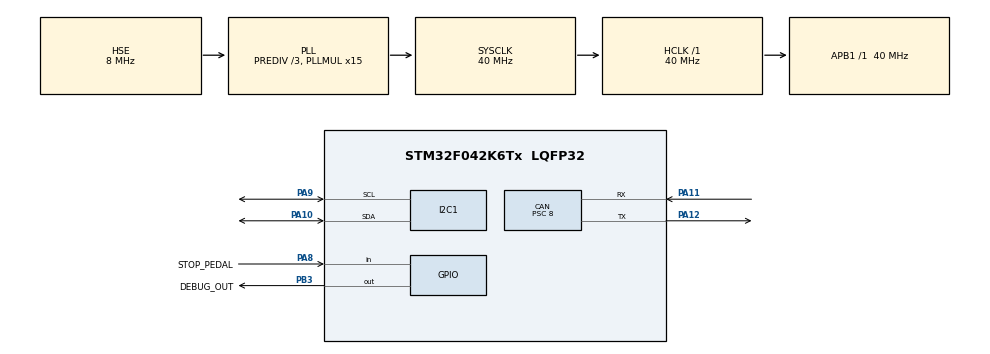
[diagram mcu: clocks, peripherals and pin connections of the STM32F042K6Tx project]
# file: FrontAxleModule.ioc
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CAN.BS1=CAN_BS1_14TQ
CAN.BS2=CAN_BS2_5TQ
CAN.CalculateTimeBit=4000
CAN.CalculateTimeQuantum=200.0
CAN.Prescaler=8
CAN.SJW=CAN_SJW_3TQ
I2C1.Timing=0x00909BEB
Mcu.Family=STM32F0
Mcu.Name=STM32F042K6Tx
Mcu.Package=LQFP32
NVIC.CEC_CAN_IRQn=true\:0\:0\:false\:false\:true
NVIC.TIM17_IRQn=true\:0\:0\:false\:false\:true
PA10.Mode=I2C
PA10.Signal=I2C1_SDA
PA11.GPIO_PuPd=GPIO_PULLDOWN
PA11.Mode=Master
PA11.Signal=CAN_RX
PA12.GPIO_PuPd=GPIO_PULLDOWN
PA12.Mode=Master
PA12.Signal=CAN_TX
PA8.GPIO_Label=STOP_PEDAL
PA8.Signal=GPIO_Input
PA9.Mode=I2C
PA9.Signal=I2C1_SCL
PB3.GPIO_Label=DEBUG_OUT
PB3.GPIO_Speed=GPIO_SPEED_FREQ_HIGH
PB3.Signal=GPIO_Output
PF0-OSC_IN.Mode=HSE-External-Oscillator
PF0-OSC_IN.Signal=RCC_OSC_IN
PF1-OSC_OUT.Mode=HSE-External-Oscillator
PF1-OSC_OUT.Signal=RCC_OSC_OUT
ProjectManager.HeapSize=0x200
ProjectManager.StackSize=0x400
ProjectManager.TargetToolchain=Makefile
RCC.AHBFreq_Value=40000000
RCC.APB1Freq_Value=40000000
RCC.APB1TimFreq_Value=40000000
RCC.EnbaleCSS=true
RCC.HCLKFreq_Value=40000000
RCC.I2c1ClockSelection=RCC_I2C1CLKSOURCE_SYSCLK
RCC.PLLDivider=RCC_PREDIV_DIV3
RCC.PLLMUL=RCC_PLL_MUL15
RCC.PLLSourceVirtual=RCC_PLLSOURCE_HSE
RCC.SYSCLKFreq_VALUE=40000000
RCC.SYSCLKSource=RCC_SYSCLKSOURCE_PLLCLK
TIM17.ClockDivision=TIM_CLOCKDIVISION_DIV4
TIM17.Period=999
TIM17.Prescaler=11999
VP_TIM17_VS_ClockSourceINT.Mode=Enable_Timer
board=FrontAxleModule

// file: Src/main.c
/**
  ******************************************************************************
  * File Name          : main.c
  * Description        : Main program body
  ******************************************************************************
  ** This notice applies to any and all portions of this file
  * that are not between comment pairs USER CODE BEGIN and
  * USER CODE END. Other portions of this file, whether
  * inserted by the user or by software development tools
  * are owned by their respective copyright owners.
  *
  * COPYRIGHT(c) 2017 STMicroelectronics
  *
  * Redistribution and use in source and binary forms, with or without modification,
  * are permitted provided that the following conditions are met:
  *   1. Redistributions of source code must retain the above copyright notice,
  *      this list of conditions and the following disclaimer.
  *   2. Redistributions in binary form must reproduce the above copyright notice,
  *      this list of conditions and the following disclaimer in the documentation
  *      and/or other materials provided with the distribution.
  *   3. Neither the name of STMicroelectronics nor the names of its contributors
  *      may be used to endorse or promote products derived from this software
  *      without specific prior written permission.
  *
  * THIS SOFTWARE IS PROVIDED BY THE COPYRIGHT HOLDERS AND CONTRIBUTORS "AS IS"
  * AND ANY EXPRESS OR IMPLIED WARRANTIES, INCLUDING, BUT NOT LIMITED TO, THE
  * IMPLIED WARRANTIES OF MERCHANTABILITY AND FITNESS FOR A PARTICULAR PURPOSE ARE
  * DISCLAIMED. IN NO EVENT SHALL THE COPYRIGHT HOLDER OR CONTRIBUTORS BE LIABLE
  * FOR ANY DIRECT, INDIRECT, INCIDENTAL, SPECIAL, EXEMPLARY, OR CONSEQUENTIAL
  * DAMAGES (INCLUDING, BUT NOT LIMITED TO, PROCUREMENT OF SUBSTITUTE GOODS OR
  * SERVICES; LOSS OF USE, DATA, OR PROFITS; OR BUSINESS INTERRUPTION) HOWEVER
  * CAUSED AND ON ANY THEORY OF LIABILITY, WHETHER IN CONTRACT, STRICT LIABILITY,
  * OR TORT (INCLUDING NEGLIGENCE OR OTHERWISE) ARISING IN ANY WAY OUT OF THE USE
  * OF THIS SOFTWARE, EVEN IF ADVISED OF THE POSSIBILITY OF SUCH DAMAGE.
  *
  ******************************************************************************
  */
#include "main.h"
#include "stm32f0xx_hal.h"
#include "can.h"
#include "i2c.h"
#include "tim.h"
#include "gpio.h"

/* USER CODE BEGIN Includes */
#include "tm_stm32_mpu6050.h"
#include "CANhandler.h"
#include "stop_pedal.h"
/* USER CODE END Includes */

/* USER CODE BEGIN PV */
/* Private variables ---------------------------------------------------------*/

/* USER CODE END PV */

void SystemClock_Config(void);

/* USER CODE BEGIN PFP */
/* Private function prototypes -----------------------------------------------*/

/* USER CODE END PFP */

int main(void)
{

  /* USER CODE BEGIN 1 */
	TM_MPU6050_t MPU6050_Data;
	TM_MPU6050_Interrupt_t	MPU6050_Interrupts;
  /* USER CODE END 1 */

  /* MCU Configuration----------------------------------------------------------*/

  /* Reset of all peripherals, Initializes the Flash interface and the Systick. */
  HAL_Init();

  /* Configure the system clock */
  SystemClock_Config();

  /* USER CODE BEGIN SysInit */
  HAL_Delay(500);
  /* USER CODE END SysInit */

  /* Initialize all configured peripherals */
  MX_GPIO_Init();
  MX_CAN_Init();
  MX_I2C1_Init();
  MX_TIM17_Init();

  /* USER CODE BEGIN 2 */
  TM_MPU6050_Init(&MPU6050_Data, TM_MPU6050_Device_0, TM_MPU6050_Accelerometer_8G, TM_MPU6050_Gyroscope_250s, TM_MPU6050_Bandwidth_94Hz);
  TM_MPU6050_EnableInterrupts(&MPU6050_Data);
  TM_MPU6050_GeneralCallib(&MPU6050_Data);
  //TM_MPU6050_FastCallib(&MPU6050_Data);
  MPU6050_Data.Accelerometer_Offset.x = 0;
  MPU6050_Data.Accelerometer_Offset.y = 0;
  MPU6050_Data.Accelerometer_Offset.z = 0;
  MPU6050_Data.Gyroscope_Offset.x = 0;
  MPU6050_Data.Gyroscope_Offset.y = 0;
  MPU6050_Data.Gyroscope_Offset.z = 0;
  /* USER CODE END 2 */

  /* Infinite loop */
  /* USER CODE BEGIN WHILE */
  CANhandler_Init();
  uint8_t stopPedal = 0;
  uint8_t prevStopPedal = 0;
  uint32_t pedalReadTime = HAL_GetTick();
  while (1)
  {
  /* USER CODE END WHILE */

  /* USER CODE BEGIN 3 */
//	TM_MPU6050_ReadInterrupts(&MPU6050_Data, &MPU6050_Interrupts);
//	if(MPU6050_Interrupts.F.DataReady){
//		TM_MPU6050_ReadGyroscope(&MPU6050_Data);
//		TM_MPU6050_ReadAccelerometer(&MPU6050_Data);
//		TM_MPU6050_CompensateRawData(&MPU6050_Data);
//	}

	  if(pedalReadTime < HAL_GetTick() - 50){
		  if(StopPedal_Read() == prevStopPedal){
			  stopPedal = prevStopPedal;
		  }
		  else{
			  prevStopPedal = StopPedal_Read();
		  }
	 }

//	SET_CAN_DATA(DATA_F_ACC_X, (uint16_t)(MPU6050_Data.Accelerometer_Compensated.x * 100));
//	SET_CAN_DATA(DATA_F_ACC_Y, (uint16_t)(MPU6050_Data.Accelerometer_Compensated.y * 100));
//	SET_CAN_DATA(DATA_F_ACC_Z, (uint16_t)(MPU6050_Data.Accelerometer_Compensated.y * 100));
//
//	SET_CAN_DATA(DATA_F_GYR_X, (uint16_t)(MPU6050_Data.Gyroscope_Compensated.x * 10));
//	SET_CAN_DATA(DATA_F_GYR_Y, (uint16_t)(MPU6050_Data.Gyroscope_Compensated.y * 10));
//	SET_CAN_DATA(DATA_F_GYR_Z, (uint16_t)(MPU6050_Data.Gyroscope_Compensated.z * 10));

	SET_CAN_DATA(DATA_STOP_LIGHT, stopPedal);

	CANhandler_Handler();
  }
  /* USER CODE END 3 */

}

/** System Clock Configuration
*/
void SystemClock_Config(void)
{

  RCC_OscInitTypeDef RCC_OscInitStruct;
  RCC_ClkInitTypeDef RCC_ClkInitStruct;
  RCC_PeriphCLKInitTypeDef PeriphClkInit;

    /**Initializes the CPU, AHB and APB busses clocks
    */
  RCC_OscInitStruct.OscillatorType = RCC_OSCILLATORTYPE_HSE;
  RCC_OscInitStruct.HSEState = RCC_HSE_ON;
  RCC_OscInitStruct.HSIState = RCC_HSI_ON;
  RCC_OscInitStruct.PLL.PLLState = RCC_PLL_ON;
  RCC_OscInitStruct.PLL.PLLSource = RCC_PLLSOURCE_HSE;
  RCC_OscInitStruct.PLL.PLLMUL = RCC_PLL_MUL15;
  RCC_OscInitStruct.PLL.PREDIV = RCC_PREDIV_DIV3;
  if (HAL_RCC_OscConfig(&RCC_OscInitStruct) != HAL_OK)
  {
    _Error_Handler(__FILE__, __LINE__);
  }

    /**Initializes the CPU, AHB and APB busses clocks
    */
  RCC_ClkInitStruct.ClockType = RCC_CLOCKTYPE_HCLK|RCC_CLOCKTYPE_SYSCLK
                              |RCC_CLOCKTYPE_PCLK1;
  RCC_ClkInitStruct.SYSCLKSource = RCC_SYSCLKSOURCE_PLLCLK;
  RCC_ClkInitStruct.AHBCLKDivider = RCC_SYSCLK_DIV1;
  RCC_ClkInitStruct.APB1CLKDivider = RCC_HCLK_DIV1;

  if (HAL_RCC_ClockConfig(&RCC_ClkInitStruct, FLASH_LATENCY_1) != HAL_OK)
  {
    _Error_Handler(__FILE__, __LINE__);
  }

  PeriphClkInit.PeriphClockSelection = RCC_PERIPHCLK_I2C1;
  PeriphClkInit.I2c1ClockSelection = RCC_I2C1CLKSOURCE_SYSCLK;
  if (HAL_RCCEx_PeriphCLKConfig(&PeriphClkInit) != HAL_OK)
  {
    _Error_Handler(__FILE__, __LINE__);
  }

    /**Enables the Clock Security System
    */
  HAL_RCC_EnableCSS();

    /**Configure the Systick interrupt time
    */
  HAL_SYSTICK_Config(HAL_RCC_GetHCLKFreq()/1000);

    /**Configure the Systick
    */
  HAL_SYSTICK_CLKSourceConfig(SYSTICK_CLKSOURCE_HCLK);

  /* SysTick_IRQn interrupt configuration */
  HAL_NVIC_SetPriority(SysTick_IRQn, 0, 0);
}

void _Error_Handler(char * file, int line)
{
  while(1)
  {
  }
}

/************************ (C) COPYRIGHT STMicroelectronics *****END OF FILE****/
